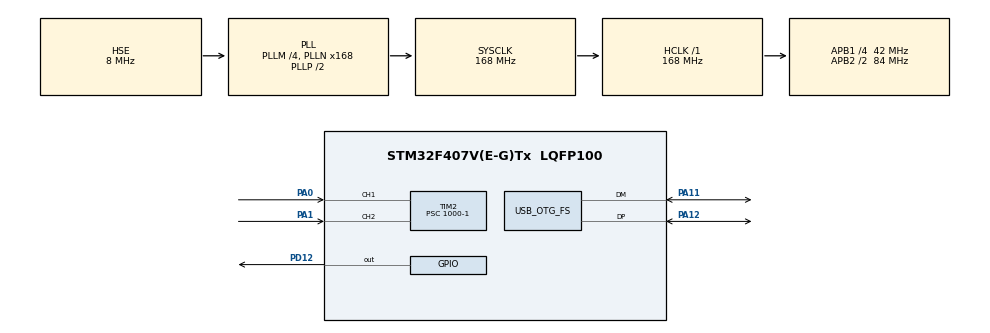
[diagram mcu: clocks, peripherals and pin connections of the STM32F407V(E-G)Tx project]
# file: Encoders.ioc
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Mcu.Family=STM32F4
Mcu.Name=STM32F407V(E-G)Tx
Mcu.Package=LQFP100
NVIC.OTG_FS_IRQn=true\:0\:0\:false\:false\:true\:false\:true
NVIC.PriorityGroup=NVIC_PRIORITYGROUP_4
NVIC.TIM2_IRQn=true\:0\:0\:false\:false\:true\:true\:true
PA0-WKUP.Signal=S_TIM2_CH1_ETR
PA1.Signal=S_TIM2_CH2
PA11.Mode=Device_Only
PA11.Signal=USB_OTG_FS_DM
PA12.Mode=Device_Only
PA12.Signal=USB_OTG_FS_DP
PA13.Mode=Serial_Wire
PA13.Signal=SYS_JTMS-SWDIO
PA14.Mode=Serial_Wire
PA14.Signal=SYS_JTCK-SWCLK
PD12.Signal=GPIO_Output
PH0-OSC_IN.Mode=HSE-External-Oscillator
PH0-OSC_IN.Signal=RCC_OSC_IN
PH1-OSC_OUT.Mode=HSE-External-Oscillator
PH1-OSC_OUT.Signal=RCC_OSC_OUT
ProjectManager.HeapSize=0x200
ProjectManager.StackSize=0x400
ProjectManager.TargetToolchain=STM32CubeIDE
RCC.48MHZClocksFreq_Value=48000000
RCC.AHBFreq_Value=168000000
RCC.APB1CLKDivider=RCC_HCLK_DIV4
RCC.APB1Freq_Value=42000000
RCC.APB1TimFreq_Value=84000000
RCC.APB2CLKDivider=RCC_HCLK_DIV2
RCC.APB2Freq_Value=84000000
RCC.APB2TimFreq_Value=168000000
RCC.CortexFreq_Value=168000000
RCC.HCLKFreq_Value=168000000
RCC.HSE_VALUE=8000000
RCC.HSI_VALUE=16000000
RCC.LSE_VALUE=32768
RCC.PLLM=4
RCC.PLLN=168
RCC.PLLQ=7
RCC.SYSCLKFreq_VALUE=168000000
RCC.SYSCLKSource=RCC_SYSCLKSOURCE_PLLCLK
RCC.VCOOutputFreq_Value=336000000
SH.S_TIM2_CH1_ETR.0=TIM2_CH1,Input_Capture1_from_TI1
SH.S_TIM2_CH2.0=TIM2_CH2,Input_Capture2_from_TI2
TIM2.Channel-Input_Capture1_from_TI1=TIM_CHANNEL_1
TIM2.Channel-Input_Capture2_from_TI2=TIM_CHANNEL_2
TIM2.Prescaler=1000-1
USB_DEVICE.CLASS_NAME_FS=CDC
USB_DEVICE.VirtualMode-CDC_FS=Cdc
USB_DEVICE.VirtualModeFS=Cdc_FS
USB_OTG_FS.VirtualMode=Device_Only
VP_TIM2_VS_ClockSourceINT.Mode=Internal
VP_USB_DEVICE_VS_USB_DEVICE_CDC_FS.Mode=CDC_FS
board=custom

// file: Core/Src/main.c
/* USER CODE BEGIN Header */
/**
  ******************************************************************************
  * @file           : main.c
  * @brief          : Main program body
  ******************************************************************************
  * @attention
  *
  * <h2><center>&copy; Copyright (c) 2021 STMicroelectronics.
  * All rights reserved.</center></h2>
  *
  * This software component is licensed by ST under Ultimate Liberty license
  * SLA0044, the "License"; You may not use this file except in compliance with
  * the License. You may obtain a copy of the License at:
  *                             www.st.com/SLA0044
  *
  ******************************************************************************
  */
/* USER CODE END Header */
#include "main.h"
#include "usb_device.h"

/* USER CODE BEGIN Includes */
#include <usbd_cdc_if.h>
/* USER CODE END Includes */

/* USER CODE BEGIN PD */
#define TIMCLOCK   84000000
#define PRESCALAR  1000
/* USER CODE END PD */

TIM_HandleTypeDef htim2;

void SystemClock_Config(void);
static void MX_GPIO_Init(void);
static void MX_TIM2_Init(void);

/* USER CODE BEGIN 0 */
uint32_t IC_Val1 = 0;
uint32_t IC_Val2 = 0;
uint32_t Difference = 0;
int Is_First_Captured = 0;

/* Measure Frequency */
float frequency = 0;
uint32_t Counter;

uint8_t Buf[4];

void HAL_TIM_IC_CaptureCallback(TIM_HandleTypeDef *htim) {
    if (htim->Channel == HAL_TIM_ACTIVE_CHANNEL_1)
    {
        Counter++;
        HAL_GPIO_TogglePin(GPIOD, GPIO_PIN_12);

        if (Is_First_Captured==0) // if the first rising edge is not captured
        {
            IC_Val1 = HAL_TIM_ReadCapturedValue(htim, TIM_CHANNEL_1); // read the first value
            Is_First_Captured = 1;  // set the first captured as true
        }

        else   // If the first rising edge is captured, now we will capture the second edge
        {
            IC_Val2 = HAL_TIM_ReadCapturedValue(htim, TIM_CHANNEL_1);  // read second value

            if (IC_Val2 > IC_Val1)
            {
                Difference = IC_Val2-IC_Val1;
            }

            else if (IC_Val1 > IC_Val2)
            {
                Difference = (0xffffffff - IC_Val1) + IC_Val2;
            }

            float refClock = TIMCLOCK/(PRESCALAR);

            frequency = refClock/Difference;
            memcpy(Buf, &Counter, 4);

            __HAL_TIM_SET_COUNTER(htim, 0);  // reset the counter
            Is_First_Captured = 0; // set it back to false
        }
    }
}
/* USER CODE END 0 */

int main(void)
{

  /* MCU Configuration--------------------------------------------------------*/

  /* Reset of all peripherals, Initializes the Flash interface and the Systick. */
  HAL_Init();

  /* USER CODE BEGIN Init */
#ifdef DEBUG
    if (__HAL_RCC_GET_SYSCLK_SOURCE() == RCC_CFGR_SWS_PLL) {
        HAL_RCC_DeInit();
    }
#endif
  /* USER CODE END Init */

  /* Configure the system clock */
  SystemClock_Config();

  /* Initialize all configured peripherals */
  MX_GPIO_Init();
  MX_USB_DEVICE_Init();
  MX_TIM2_Init();
  /* USER CODE BEGIN 2 */
    HAL_TIM_IC_Start_IT(&htim2, TIM_CHANNEL_1);
  /* USER CODE END 2 */

  /* Infinite loop */
  /* USER CODE BEGIN WHILE */
  while (1)
  {
      CDC_Transmit_FS(Buf, 4);
      HAL_Delay(100);
    /* USER CODE END WHILE */

  }
}

void SystemClock_Config(void)
{
  RCC_OscInitTypeDef RCC_OscInitStruct = {0};
  RCC_ClkInitTypeDef RCC_ClkInitStruct = {0};

  /** Configure the main internal regulator output voltage
  */
  __HAL_RCC_PWR_CLK_ENABLE();
  __HAL_PWR_VOLTAGESCALING_CONFIG(PWR_REGULATOR_VOLTAGE_SCALE1);
  /** Initializes the RCC Oscillators according to the specified parameters
  * in the RCC_OscInitTypeDef structure.
  */
  RCC_OscInitStruct.OscillatorType = RCC_OSCILLATORTYPE_HSE;
  RCC_OscInitStruct.HSEState = RCC_HSE_ON;
  RCC_OscInitStruct.PLL.PLLState = RCC_PLL_ON;
  RCC_OscInitStruct.PLL.PLLSource = RCC_PLLSOURCE_HSE;
  RCC_OscInitStruct.PLL.PLLM = 4;
  RCC_OscInitStruct.PLL.PLLN = 168;
  RCC_OscInitStruct.PLL.PLLP = RCC_PLLP_DIV2;
  RCC_OscInitStruct.PLL.PLLQ = 7;
  if (HAL_RCC_OscConfig(&RCC_OscInitStruct) != HAL_OK)
  {
    Error_Handler();
  }
  /** Initializes the CPU, AHB and APB buses clocks
  */
  RCC_ClkInitStruct.ClockType = RCC_CLOCKTYPE_HCLK|RCC_CLOCKTYPE_SYSCLK
                              |RCC_CLOCKTYPE_PCLK1|RCC_CLOCKTYPE_PCLK2;
  RCC_ClkInitStruct.SYSCLKSource = RCC_SYSCLKSOURCE_PLLCLK;
  RCC_ClkInitStruct.AHBCLKDivider = RCC_SYSCLK_DIV1;
  RCC_ClkInitStruct.APB1CLKDivider = RCC_HCLK_DIV4;
  RCC_ClkInitStruct.APB2CLKDivider = RCC_HCLK_DIV2;

  if (HAL_RCC_ClockConfig(&RCC_ClkInitStruct, FLASH_LATENCY_5) != HAL_OK)
  {
    Error_Handler();
  }
}

static void MX_TIM2_Init(void)
{

  TIM_ClockConfigTypeDef sClockSourceConfig = {0};
  TIM_MasterConfigTypeDef sMasterConfig = {0};
  TIM_IC_InitTypeDef sConfigIC = {0};

  htim2.Instance = TIM2;
  htim2.Init.Prescaler = 1000-1;
  htim2.Init.CounterMode = TIM_COUNTERMODE_UP;
  htim2.Init.Period = 4294967295;
  htim2.Init.ClockDivision = TIM_CLOCKDIVISION_DIV1;
  htim2.Init.AutoReloadPreload = TIM_AUTORELOAD_PRELOAD_DISABLE;
  if (HAL_TIM_Base_Init(&htim2) != HAL_OK)
  {
    Error_Handler();
  }
  sClockSourceConfig.ClockSource = TIM_CLOCKSOURCE_INTERNAL;
  if (HAL_TIM_ConfigClockSource(&htim2, &sClockSourceConfig) != HAL_OK)
  {
    Error_Handler();
  }
  if (HAL_TIM_IC_Init(&htim2) != HAL_OK)
  {
    Error_Handler();
  }
  sMasterConfig.MasterOutputTrigger = TIM_TRGO_RESET;
  sMasterConfig.MasterSlaveMode = TIM_MASTERSLAVEMODE_DISABLE;
  if (HAL_TIMEx_MasterConfigSynchronization(&htim2, &sMasterConfig) != HAL_OK)
  {
    Error_Handler();
  }
  sConfigIC.ICPolarity = TIM_INPUTCHANNELPOLARITY_RISING;
  sConfigIC.ICSelection = TIM_ICSELECTION_DIRECTTI;
  sConfigIC.ICPrescaler = TIM_ICPSC_DIV1;
  sConfigIC.ICFilter = 0;
  if (HAL_TIM_IC_ConfigChannel(&htim2, &sConfigIC, TIM_CHANNEL_1) != HAL_OK)
  {
    Error_Handler();
  }
  if (HAL_TIM_IC_ConfigChannel(&htim2, &sConfigIC, TIM_CHANNEL_2) != HAL_OK)
  {
    Error_Handler();
  }

}

static void MX_GPIO_Init(void)
{
  GPIO_InitTypeDef GPIO_InitStruct = {0};

  /* GPIO Ports Clock Enable */
  __HAL_RCC_GPIOH_CLK_ENABLE();
  __HAL_RCC_GPIOA_CLK_ENABLE();
  __HAL_RCC_GPIOD_CLK_ENABLE();

  /*Configure GPIO pin Output Level */
  HAL_GPIO_WritePin(GPIOD, GPIO_PIN_12, GPIO_PIN_RESET);

  /*Configure GPIO pin : PD12 */
  GPIO_InitStruct.Pin = GPIO_PIN_12;
  GPIO_InitStruct.Mode = GPIO_MODE_OUTPUT_PP;
  GPIO_InitStruct.Pull = GPIO_NOPULL;
  GPIO_InitStruct.Speed = GPIO_SPEED_FREQ_LOW;
  HAL_GPIO_Init(GPIOD, &GPIO_InitStruct);

}

void Error_Handler(void)
{
  __disable_irq();
  while (1)
  {
  }
}

/************************ (C) COPYRIGHT STMicroelectronics *****END OF FILE****/
